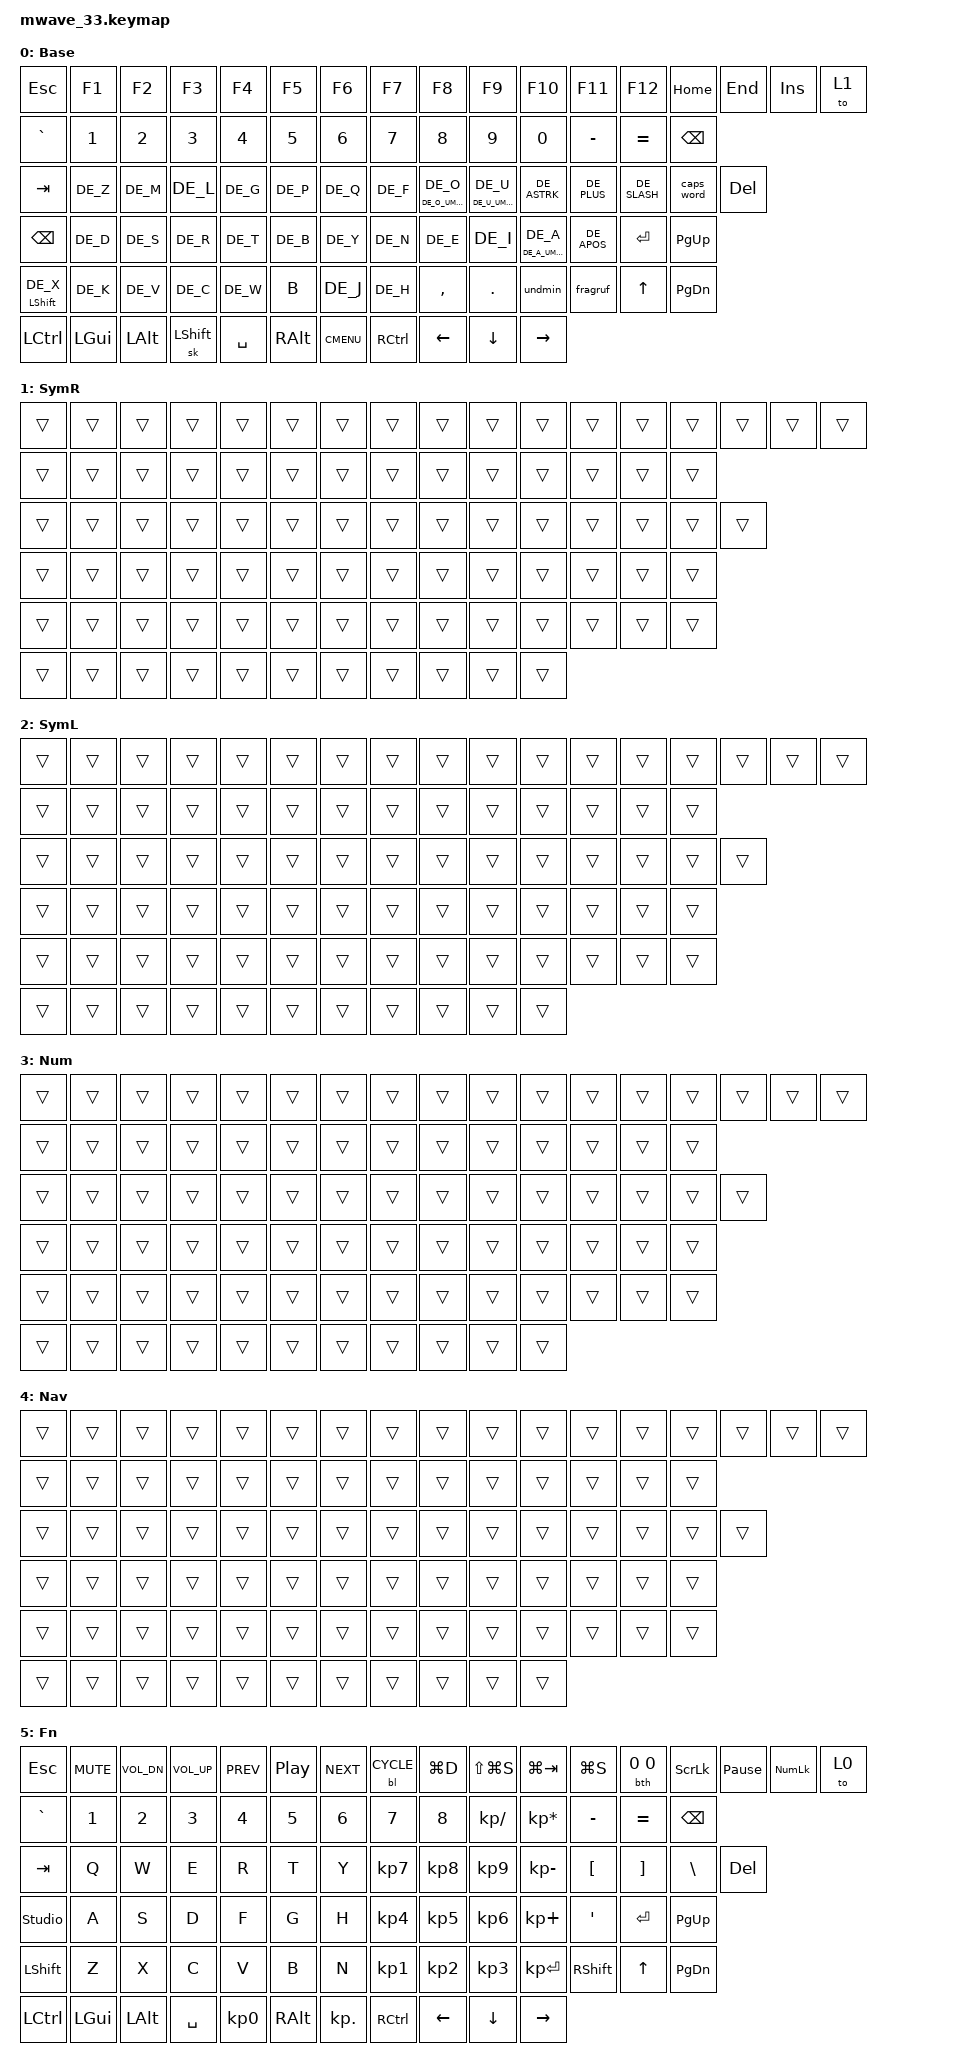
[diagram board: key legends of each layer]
#include <dt-bindings/advertising_mode.h>
#include <behaviors/advertising_mode.dtsi>
#include <behaviors/stp_indicators.dtsi>
#include <behaviors.dtsi>
#include <dt-bindings/zmk/backlight.h>
#include <dt-bindings/zmk/keys.h>
#include "studio-macros.dtsi"
#include "keys_de.h"

/ {
    #include "mwave_prim.dtsi"

    behaviors {
        th: th {
            compatible = "zmk,behavior-hold-tap";
            label = "TH";
            bindings = <&kp>, <&kp>;

            #binding-cells = <2>;
            tapping-term-ms = <200>;
            flavor = "tap-preferred";
        };

        fragruf: fragruf {
            compatible = "zmk,behavior-mod-morph";
            label = "FRAGRUF";
            bindings = <&kp DE_QUESTION>, <&kp DE_EXCL>;

            #binding-cells = <0>;
            mods = <(MOD_LSFT|MOD_RSFT)>;
        };

        undmin: undmin {
            compatible = "zmk,behavior-mod-morph";
            label = "UNDMIN";
            bindings = <&kp DE_UNDER>, <&kp DE_MINUS>;

            #binding-cells = <0>;
            mods = <(MOD_LSFT|MOD_RSFT)>;
        };

        hml: hml {
            compatible = "zmk,behavior-hold-tap";
            label = "HML";
            bindings = <&kp>, <&kp>;

            #binding-cells = <2>;
            tapping-term-ms = <200>;
            hold-trigger-key-positions = <24 25 38 37 52 66 67 68 69 70 71 72 73 84 82 83 81 80 79 78 53 54 39 26 27 40 55 56 57 58 59 45 16 15 30 29 28 41 42 43 44 7 8 9 11 10 12 13 14>;
        };

        hll: hll {
            compatible = "zmk,behavior-hold-tap";
            label = "HLL";
            bindings = <&mo>, <&kp>;

            #binding-cells = <2>;
            tapping-term-ms = <200>;
            hold-trigger-key-positions = <24 25 38 37 52 66 67 68 69 70 71 72 73 84 82 83 81 80 79 78 53 54 39 26 27 40 55 56 57 58 59 45 16 15 30 29 28 41 42 43 44 7 8 9 11 10 12 13 14>;
        };

        hmr: hmr {
            compatible = "zmk,behavior-hold-tap";
            label = "HMR";
            bindings = <&kp>, <&kp>;

            #binding-cells = <2>;
            tapping-term-ms = <200>;
            hold-trigger-key-positions = <77 76 75 74 60 17 0 31 46 47 48 49 50 51 65 64 63 62 61 32 18 19 33 34 35 36 23 22 20 21 4 5 6 1 2 3>;
        };

        hlr: hlr {
            compatible = "zmk,behavior-hold-tap";
            label = "HLR";
            bindings = <&mo>, <&kp>;

            #binding-cells = <2>;
            tapping-term-ms = <200>;
            hold-trigger-key-positions = <77 76 75 74 60 17 0 31 46 47 48 49 50 51 65 64 63 62 61 32 18 19 33 34 35 36 23 22 20 21 4 5 6 1 2 3>;
        };
    };

    macros {
        macro_ein: macro_ein {
            compatible = "zmk,behavior-macro";
            #binding-cells = <0>;
            bindings = <&kp E &kp I &kp N>;
            label = "MACRO_EIN";
        };
                // delay (in milliseconds) to wait between keypresses in the macros
        #ifndef SELECT_WORD_WAIT
        #define SELECT_WORD_WAIT 10
        #endif

        // delay (in milliseconds) to keep a keypress held down before releasing it
        #ifndef SELECT_WORD_TAP
        #define SELECT_WORD_TAP 10
        #endif

        // select a word (jumps to next word upon each successive invocation)
        // normal press goes to the right, press with shift to go to the left
        select_word: select_word {
            compatible = "zmk,behavior-mod-morph";
            #binding-cells = <0>;
            bindings = <&select_word_right>, <&select_word_left>;
            mods = <(MOD_LSFT|MOD_RSFT)>;
        };
        ZMK_MACRO(select_word_right,
            wait-ms = <SELECT_WORD_WAIT>;
            tap-ms = <SELECT_WORD_TAP>;
            bindings = <&kp RIGHT &kp LA(RIGHT) &kp LA(LEFT) &kp LA(LS(RIGHT))>;
        )
        ZMK_MACRO(select_word_left,
            wait-ms = <SELECT_WORD_WAIT>;
            tap-ms = <SELECT_WORD_TAP>;
            bindings = <&kp LEFT &kp LA(LEFT) &kp LA(RIGHT) &kp LA(LS(LEFT))>;
        )
        // select current line
        // normal press goes down, press with shift to go up
        select_line: select_line {
            compatible = "zmk,behavior-mod-morph";
            #binding-cells = <0>;
            bindings = <&select_line_right>, <&select_line_left>;
            mods = <(MOD_LSFT|MOD_RSFT)>;
        };
        ZMK_MACRO(select_line_right,
            wait-ms = <SELECT_WORD_WAIT>;
            tap-ms = <SELECT_WORD_TAP>;
            bindings = <&kp RIGHT &kp RIGHT &kp LG(LEFT) &kp LS(LG(RIGHT))>;
        )
        ZMK_MACRO(select_line_left,
            wait-ms = <SELECT_WORD_WAIT>;
            tap-ms = <SELECT_WORD_TAP>;
            bindings = <&kp LEFT &kp LEFT &kp LG(RIGHT) &kp LS(LG(LEFT))>;
        )        
    };

    keymap {
        compatible = "zmk,keymap";

        default_layer {
            display-name = "Base";

            // -------------------------------------------------------------------------------------------------------
            // | ESC | F1  | F2  | F3  | F4  | F5  | F6  | | F7  | F8  | F9  | F10 | F11 | F12 |HOME| END |PSCN|  1  |
            // |GRAVE|  1  |  2  |  3  |  4  |  5  |  6  | |   7   |  8  |  9  |  0  |  -  |  =  |    BKSP     | DEL |
            // | TAB    |  Q  |  W  |  E  |  R  |   T    | |   Y  |  U  |  I  |  O  |  P  |  [  |  ]  |   \    |     |
            // | CAPS     |  A  |  S  |  D  |  F  |  G   | |  H    |  J  |  K  |  L  |  ;  |  '  |    ENTER    | PGUP|
            // |   SHIFT   |  Z  |  X  |  C  |  V  |  B  | |    N    |  M  |  ,  |  .  |  /  |   SHIFT   | UP  | PGDN|
            // |  CTL  |  WIN  |  ALT  |      SPACE      | |      SPACE        | ALT | MENU |RCTRL| LEFT| DOWN |RIGHT|
            // -------------------------------------------------------------------------------------------------------

            bindings = <
&kp ESC         &kp F1    &kp F2    &kp F3     &kp F4     &kp F5    &kp F6       &kp F7     &kp F8                &kp F9                &kp F10               &kp F11      &kp F12       &kp HOME    &kp END  &kp INSERT  &to 1
&kp GRAVE       &kp N1    &kp N2    &kp N3     &kp N4     &kp N5    &kp N6       &kp N7     &kp N8                &kp N9                &kp N0                &kp MINUS    &kp EQUAL     &kp BSPC
&kp TAB         &kp DE_Z  &kp DE_M  &kp DE_L   &kp DE_G   &kp DE_P  &kp DE_Q     &kp DE_F   &th DE_O_UMLAUT DE_O  &th DE_U_UMLAUT DE_U  &kp DE_ASTRK          &kp DE_PLUS  &kp DE_SLASH  &caps_word  &kp DEL
&kp BSPC        &kp DE_D  &kp DE_S  &kp DE_R   &kp DE_T   &kp DE_B  &kp DE_Y     &kp DE_N   &kp DE_E              &kp DE_I              &th DE_A_UMLAUT DE_A  &kp DE_APOS  &kp RET       &kp PG_UP
&mt LSHFT DE_X  &kp DE_K  &kp DE_V  &kp DE_C   &kp DE_W   &kp B     &kp DE_J     &kp DE_H   &kp COMMA             &kp DOT               &undmin               &fragruf     &kp UP        &kp PG_DN
&kp LCTRL       &kp LGUI  &kp LALT  &sk LSHFT  &kp SPACE  &kp RALT  &kp K_CMENU  &kp RCTRL  &kp LEFT              &kp DOWN              &kp RIGHT
            >;
        };

        SymR {
            display-name = "SymR";
            bindings = <
&trans  &trans  &trans  &trans  &trans  &trans  &trans  &trans  &trans  &trans  &trans  &trans  &trans  &trans  &trans  &trans  &trans
&trans  &trans  &trans  &trans  &trans  &trans  &trans  &trans  &trans  &trans  &trans  &trans  &trans  &trans
&trans  &trans  &trans  &trans  &trans  &trans  &trans  &trans  &trans  &trans  &trans  &trans  &trans  &trans  &trans
&trans  &trans  &trans  &trans  &trans  &trans  &trans  &trans  &trans  &trans  &trans  &trans  &trans  &trans
&trans  &trans  &trans  &trans  &trans  &trans  &trans  &trans  &trans  &trans  &trans  &trans  &trans  &trans
&trans  &trans  &trans  &trans  &trans  &trans  &trans  &trans  &trans  &trans  &trans
            >;
        };

        SymL {
            display-name = "SymL";
            bindings = <
&trans  &trans  &trans  &trans  &trans  &trans  &trans  &trans  &trans  &trans  &trans  &trans  &trans  &trans  &trans  &trans  &trans
&trans  &trans  &trans  &trans  &trans  &trans  &trans  &trans  &trans  &trans  &trans  &trans  &trans  &trans
&trans  &trans  &trans  &trans  &trans  &trans  &trans  &trans  &trans  &trans  &trans  &trans  &trans  &trans  &trans
&trans  &trans  &trans  &trans  &trans  &trans  &trans  &trans  &trans  &trans  &trans  &trans  &trans  &trans
&trans  &trans  &trans  &trans  &trans  &trans  &trans  &trans  &trans  &trans  &trans  &trans  &trans  &trans
&trans  &trans  &trans  &trans  &trans  &trans  &trans  &trans  &trans  &trans  &trans
            >;
        };

        Num {
            display-name = "Num";
            bindings = <
&trans  &trans  &trans  &trans  &trans  &trans  &trans  &trans  &trans  &trans  &trans  &trans  &trans  &trans  &trans  &trans  &trans
&trans  &trans  &trans  &trans  &trans  &trans  &trans  &trans  &trans  &trans  &trans  &trans  &trans  &trans
&trans  &trans  &trans  &trans  &trans  &trans  &trans  &trans  &trans  &trans  &trans  &trans  &trans  &trans  &trans
&trans  &trans  &trans  &trans  &trans  &trans  &trans  &trans  &trans  &trans  &trans  &trans  &trans  &trans
&trans  &trans  &trans  &trans  &trans  &trans  &trans  &trans  &trans  &trans  &trans  &trans  &trans  &trans
&trans  &trans  &trans  &trans  &trans  &trans  &trans  &trans  &trans  &trans  &trans
            >;
        };

        Nav {
            display-name = "Nav";
            bindings = <
&trans  &trans  &trans  &trans  &trans  &trans  &trans  &trans  &trans  &trans  &trans  &trans  &trans  &trans  &trans  &trans  &trans
&trans  &trans  &trans  &trans  &trans  &trans  &trans  &trans  &trans  &trans  &trans  &trans  &trans  &trans
&trans  &trans  &trans  &trans  &trans  &trans  &trans  &trans  &trans  &trans  &trans  &trans  &trans  &trans  &trans
&trans  &trans  &trans  &trans  &trans  &trans  &trans  &trans  &trans  &trans  &trans  &trans  &trans  &trans
&trans  &trans  &trans  &trans  &trans  &trans  &trans  &trans  &trans  &trans  &trans  &trans  &trans  &trans
&trans  &trans  &trans  &trans  &trans  &trans  &trans  &trans  &trans  &trans  &trans
            >;
        };

        raise {
            display-name = "Fn";
            bindings = <
&kp ESCAPE      &kp C_MUTE  &kp C_VOL_DN  &kp C_VOL_UP  &kp C_PREV  &kp C_PP  &kp C_NEXT  &bl BL_CYCLE  &kp LG(D)  &kp LS(LG(S))  &kp LG(TAB)      &kp LG(S)        &bth 0 0   &kp SCROLLLOCK  &kp PAUSE_BREAK  &kp KP_NUMLOCK  &to 0
&kp GRAVE       &kp N1      &kp N2        &kp N3        &kp N4      &kp N5    &kp N6      &kp N7        &kp N8     &kp KP_DIVIDE  &kp KP_MULTIPLY  &kp MINUS        &kp EQUAL  &kp BACKSPACE
&kp TAB         &kp Q       &kp W         &kp E         &kp R       &kp T     &kp Y       &kp KP_N7     &kp KP_N8  &kp KP_N9      &kp KP_MINUS     &kp LBKT         &kp RBKT   &kp BSLH        &kp DELETE
&studio_unlock  &kp A       &kp S         &kp D         &kp F       &kp G     &kp H       &kp KP_N4     &kp KP_N5  &kp KP_N6      &kp KP_PLUS      &kp SQT          &kp ENTER  &kp PAGE_UP
&kp LEFT_SHIFT  &kp Z       &kp X         &kp C         &kp V       &kp B     &kp N       &kp KP_N1     &kp KP_N2  &kp KP_N3      &kp KP_ENTER     &kp RIGHT_SHIFT  &kp UP     &kp PAGE_DOWN
&kp LCTRL       &kp LGUI    &kp LALT      &kp SPACE     &kp KP_N0   &kp RALT  &kp KP_DOT  &kp RCTRL     &kp LEFT   &kp DOWN       &kp RIGHT
            >;
        };

        extra1 {
            display-name = "Blue";
            status = "reserved";
        };

        extra2 {
            display-name = "Green";
            status = "reserved";
        };

        extra3 {
            display-name = "Red";
            status = "reserved";
        };

        extra4 {
            display-name = "Purple";
            status = "reserved";
        };

        extra5 {
            display-name = "Cyan";
            status = "reserved";
        };

        extra6 {
            display-name = "Yellow";
            status = "reserved";
        };
    };
};
